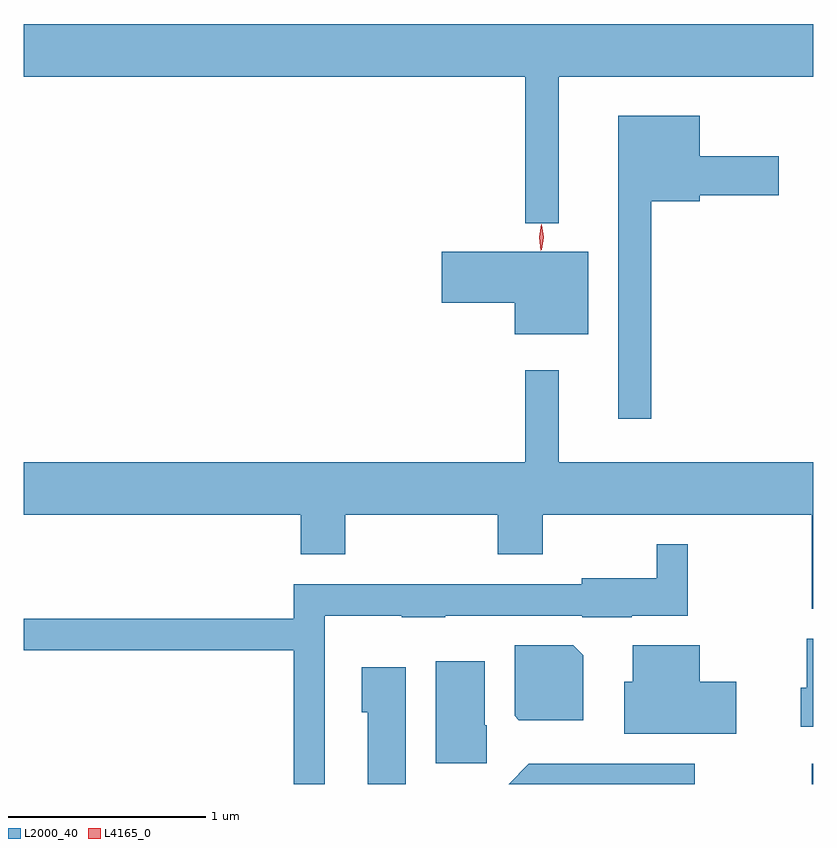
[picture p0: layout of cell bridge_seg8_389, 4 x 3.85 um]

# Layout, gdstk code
import gdstk
lib = gdstk.Library(unit=1e-6, precision=1e-09)
def R(c, l, rs):  # rectangles x0, y0, x1, y1
    for r in rs: c.add(gdstk.rectangle(r[:2], r[2:], *l))
def P(c, l, *ps):  # polygons
    for p in ps: c.add(gdstk.Polygon(p, *l))
L2000_40 = (2000, 40)
L4165_0 = (4165, 0)

bridge_seg8_389 = lib.new_cell('bridge_seg8_389')
R(bridge_seg8_389, L2000_40, [(768.101,1888.332,768.109,1888.434)])
P(bridge_seg8_389, L2000_40, [(764.109,1891.916),(766.651,1891.916),(766.651,1891.173),(766.819,1891.173),(766.819,1891.916),(768.109,1891.916),(768.109,1892.184),(764.109,1892.184)],
  [(767.289,1891.286),(767.534,1891.286),(767.534,1891.316),(767.934,1891.316),(767.934,1891.514),(767.534,1891.514),(767.534,1891.719),(767.121,1891.719),(767.121,1890.183),(767.289,1890.183)],
  [(766.969,1891.029),(766.226,1891.029),(766.226,1890.771),(766.596,1890.771),(766.596,1890.611),(766.969,1890.611)],
  [(764.109,1889.696),(765.511,1889.696),(765.511,1889.496),(765.739,1889.496),(765.739,1889.696),(766.511,1889.696),(766.511,1889.496),(766.739,1889.496),(766.739,1889.696),(768.101,1889.696),(768.101,1889.221),(768.109,1889.221),(768.109,1889.964),(766.819,1889.964),(766.819,1890.428),(766.651,1890.428),(766.651,1889.964),(764.109,1889.964)],
  [(765.634,1889.186),(766.025,1889.186),(766.025,1889.176),(766.245,1889.176),(766.245,1889.186),(766.94,1889.186),(766.94,1889.176),(767.19,1889.176),(767.19,1889.186),(767.474,1889.186),(767.474,1889.548),(767.316,1889.548),(767.316,1889.374),(766.936,1889.374),(766.936,1889.344),(765.476,1889.344),(765.476,1889.169),(764.109,1889.169),(764.109,1889.011),(765.476,1889.011),(765.476,1888.332),(765.634,1888.332)],
  [(768.109,1889.069),(768.076,1889.069),(768.076,1888.819),(768.046,1888.819),(768.046,1888.621),(768.109,1888.621)],
  [(767.719,1888.849),(767.534,1888.849),(767.534,1889.034),(767.196,1889.034),(767.196,1888.849),(767.151,1888.849),(767.151,1888.586),(767.719,1888.586)],
  [(766.944,1888.984),(766.894,1889.034),(766.596,1889.034),(766.596,1888.677),(766.617,1888.656),(766.944,1888.656)],
  [(766.454,1888.63),(766.444,1888.63),(766.444,1888.954),(766.196,1888.954),(766.196,1888.436),(766.454,1888.436)],
  [(766.044,1888.924),(765.821,1888.924),(765.821,1888.696),(765.851,1888.696),(765.851,1888.332),(766.044,1888.332)],
  [(767.509,1888.434),(766.669,1888.434),(766.567,1888.332),(767.509,1888.332)])
P(bridge_seg8_389, L4165_0, [(766.732,1891.04),(766.723,1891.103),(766.732,1891.166),(766.733,1891.167),(766.733,1891.166),(766.743,1891.103),(766.733,1891.04),(766.733,1891.04)],
  [(766.728,1891.034),(766.72,1891.102),(766.73,1891.17),(766.73,1891.17),(766.731,1891.17),(766.739,1891.102),(766.729,1891.034),(766.729,1891.034)])

lib.write_gds('bridge_seg8_389.gds')
